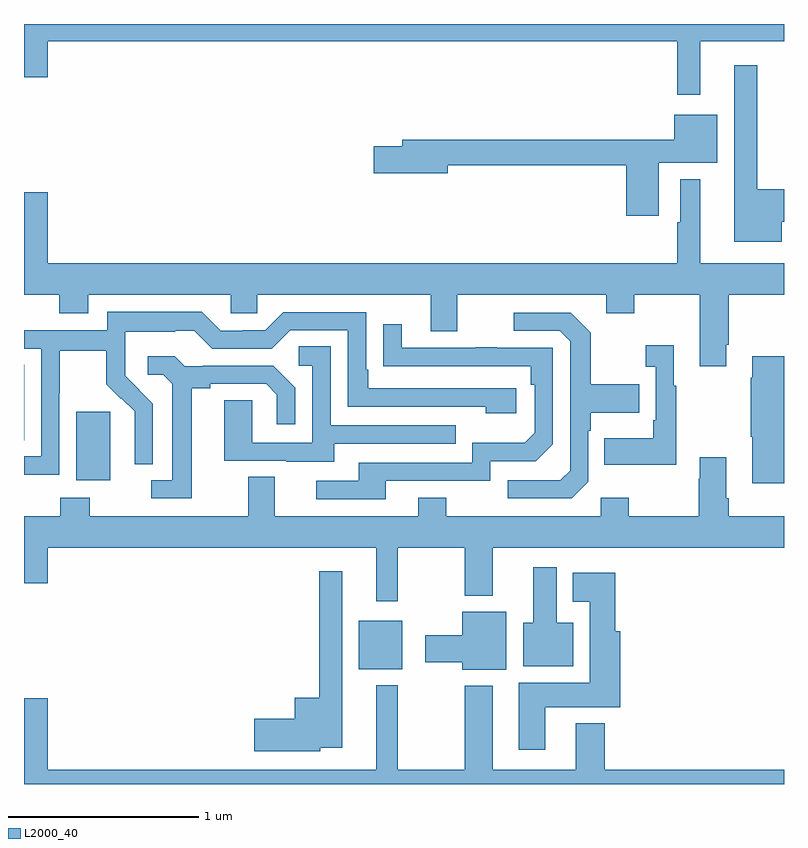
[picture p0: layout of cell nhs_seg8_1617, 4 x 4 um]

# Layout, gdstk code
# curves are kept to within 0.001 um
import gdstk
lib = gdstk.Library(unit=1e-6, precision=1e-09)
def R(c, l, rs):  # rectangles x0, y0, x1, y1
    for r in rs: c.add(gdstk.rectangle(r[:2], r[2:], *l))
def P(c, l, *ps):  # polygons
    for p in ps: c.add(gdstk.Polygon(p, *l))
L2000_40 = (2000, 40)

nhs_seg8_1617 = lib.new_cell('nhs_seg8_1617')
R(nhs_seg8_1617, L2000_40, [(214.763,1138.505,214.99,1138.759), (213.275,1139.498,213.454,1139.859), (213,1139.71,213.001,1140.107)])
P(nhs_seg8_1617, L2000_40, [(216.559,1141.808),(217,1141.808),(217,1141.9),(213,1141.9),(213,1141.62),(213.124,1141.62),(213.124,1141.808),(216.438,1141.808),(216.438,1141.527),(216.559,1141.527)],
  [(216.988,1140.86),(217,1140.86),(217,1141.031),(216.859,1141.031),(216.859,1141.684),(216.737,1141.684),(216.737,1140.755),(216.988,1140.755)],
  [(216.34,1141.169),(216.649,1141.169),(216.649,1141.423),(216.422,1141.423),(216.422,1141.292),(214.991,1141.292),(214.991,1141.256),(214.842,1141.256),(214.842,1141.114),(215.23,1141.114),(215.23,1141.156),(216.17,1141.156),(216.17,1140.891),(216.34,1140.891)],
  [(216.697,1140.211),(216.71,1140.211),(216.71,1140.476),(217,1140.476),(217,1140.64),(216.559,1140.64),(216.559,1141.084),(216.455,1141.084),(216.455,1140.857),(216.438,1140.857),(216.438,1140.64),(213.124,1140.64),(213.124,1141.015),(213,1141.015),(213,1140.476),(213.185,1140.476),(213.185,1140.377),(213.337,1140.377),(213.337,1140.476),(214.089,1140.476),(214.089,1140.378),(214.227,1140.378),(214.227,1140.476),(215.141,1140.476),(215.141,1140.282),(215.281,1140.282),(215.281,1140.476),(216.065,1140.476),(216.065,1140.377),(216.213,1140.377),(216.213,1140.476),(216.557,1140.476),(216.557,1140.099),(216.697,1140.099)],
  [(213.186,1139.956),(213.189,1139.956),(213.189,1140.18),(213.433,1140.18),(213.433,1140.005),(213.51,1139.928),(213.513,1139.931),(213.584,1139.861),(213.584,1139.738),(213.582,1139.738),(213.582,1139.584),(213.678,1139.584),(213.678,1139.902),(213.532,1140.05),(213.532,1140.147),(213.534,1140.147),(213.534,1140.281),(213.797,1140.281),(213.797,1140.285),(213.897,1140.285),(213.99,1140.192),(214.305,1140.192),(214.401,1140.288),(214.704,1140.288),(214.704,1139.886),(215.429,1139.886),(215.429,1139.852),(215.59,1139.852),(215.59,1139.982),(214.813,1139.982),(214.813,1140.079),(214.8,1140.079),(214.8,1140.384),(214.365,1140.384),(214.269,1140.288),(214.151,1140.288),(214.151,1140.285),(214.035,1140.285),(213.935,1140.385),(213.438,1140.385),(213.438,1140.288),(213,1140.288),(213,1140.192),(213.09,1140.192),(213.09,1139.625),(213,1139.625),(213,1139.527),(213.186,1139.527)],
  [(215.97,1139.49),(215.97,1139.759),(215.983,1139.759),(215.983,1139.855),(216.239,1139.855),(216.239,1140.003),(215.983,1140.003),(215.983,1140.275),(215.877,1140.381),(215.577,1140.381),(215.577,1140.285),(215.82,1140.285),(215.874,1140.231),(215.874,1139.55),(215.823,1139.499),(215.547,1139.499),(215.547,1139.403),(215.883,1139.403)],
  [(214.903,1139.496),(215.454,1139.496),(215.454,1139.598),(215.694,1139.598),(215.784,1139.688),(215.784,1140.195),(215.489,1140.195),(215.489,1140.2),(215.377,1140.2),(215.377,1140.195),(214.987,1140.195),(214.987,1140.319),(214.891,1140.319),(214.891,1140.1),(215.668,1140.099),(215.668,1140.002),(215.688,1140.002),(215.688,1139.748),(215.635,1139.695),(215.358,1139.695),(215.358,1139.592),(214.763,1139.592),(214.763,1139.496),(214.539,1139.496),(214.539,1139.4),(214.903,1139.4)],
  [(216.433,1139.995),(216.421,1139.995),(216.421,1140.208),(216.273,1140.208),(216.273,1140.095),(216.324,1140.095),(216.324,1139.815),(216.312,1139.815),(216.312,1139.719),(216.055,1139.719),(216.055,1139.579),(216.433,1139.579)],
  [(214.633,1139.691),(215.273,1139.691),(215.273,1139.787),(214.614,1139.787),(214.614,1140.203),(214.446,1140.203),(214.446,1140.102),(214.518,1140.102),(214.518,1139.697),(214.2,1139.697),(214.2,1139.921),(214.055,1139.921),(214.055,1139.601),(214.379,1139.601),(214.379,1139.597),(214.633,1139.597)],
  [(213.883,1139.984),(213.979,1139.984),(213.979,1140.006),(214.274,1140.006),(214.331,1139.949),(214.331,1139.793),(214.428,1139.793),(214.428,1139.986),(214.312,1140.102),(213.94,1140.102),(213.94,1140.099),(213.846,1140.099),(213.794,1140.151),(213.651,1140.151),(213.651,1140.054),(213.732,1140.054),(213.779,1140.007),(213.779,1139.499),(213.669,1139.499),(213.669,1139.403),(213.883,1139.403)],
  [(217,1140.151),(216.833,1140.151),(216.833,1140.038),(216.826,1140.038),(216.826,1139.727),(216.833,1139.727),(216.833,1139.484),(217,1139.484)],
  [(215.32,1138.892),(215.467,1138.892),(215.467,1139.144),(217,1139.144),(217,1139.308),(216.71,1139.308),(216.71,1139.404),(216.697,1139.404),(216.697,1139.62),(216.557,1139.62),(216.557,1139.507),(216.55,1139.507),(216.55,1139.308),(216.183,1139.308),(216.183,1139.407),(216.036,1139.407),(216.036,1139.308),(215.223,1139.308),(215.223,1139.407),(215.075,1139.407),(215.075,1139.308),(214.321,1139.308),(214.321,1139.516),(214.181,1139.516),(214.181,1139.308),(213.345,1139.308),(213.345,1139.407),(213.19,1139.407),(213.19,1139.308),(213,1139.308),(213,1138.956),(213.124,1138.956),(213.124,1139.144),(214.853,1139.144),(214.853,1138.863),(214.967,1138.863),(214.967,1139.144),(215.32,1139.144)],
  [(215.89,1138.75),(215.803,1138.75),(215.803,1139.041),(215.681,1139.041),(215.681,1138.75),(215.627,1138.75),(215.627,1138.52),(215.89,1138.52)],
  [(214.56,1138.091),(214.675,1138.091),(214.675,1139.02),(214.554,1139.02),(214.554,1138.354),(214.424,1138.354),(214.424,1138.244),(214.212,1138.244),(214.212,1138.073),(214.56,1138.073)],
  [(215.743,1138.304),(216.137,1138.304),(216.137,1138.704),(216.113,1138.704),(216.113,1139.011),(215.888,1139.011),(215.888,1138.859),(215.978,1138.859),(215.978,1138.432),(215.603,1138.432),(215.603,1138.08),(215.743,1138.08)],
  [(215.539,1138.807),(215.306,1138.807),(215.306,1138.683),(215.112,1138.683),(215.112,1138.541),(215.306,1138.541),(215.306,1138.502),(215.539,1138.502)],
  [(217,1137.976),(216.056,1137.976),(216.056,1138.219),(215.903,1138.219),(215.903,1137.976),(215.467,1137.976),(215.467,1138.417),(215.32,1138.417),(215.32,1137.976),(214.967,1137.976),(214.967,1138.42),(214.853,1138.42),(214.853,1137.976),(213.124,1137.976),(213.124,1138.351),(213,1138.351),(213,1137.9),(217,1137.9)])

lib.write_gds('nhs_seg8_1617.gds')
